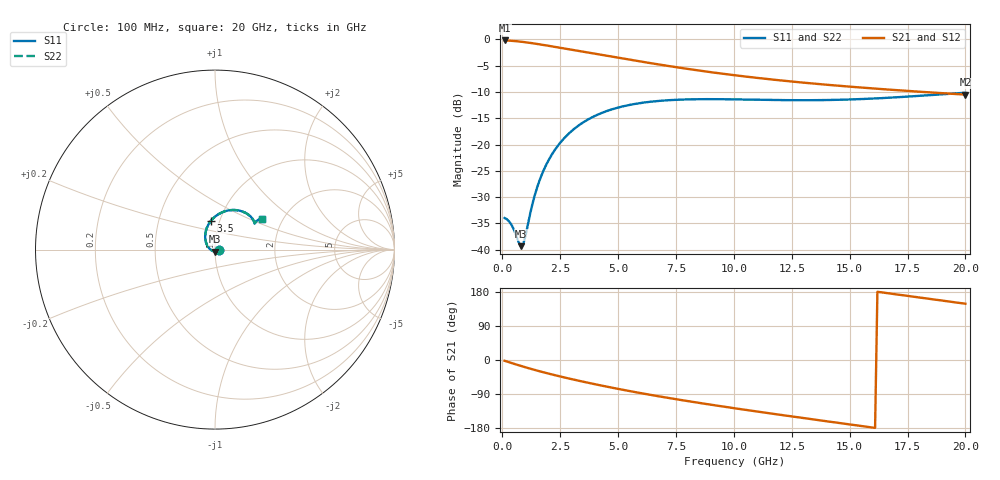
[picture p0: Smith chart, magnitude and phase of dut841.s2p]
! Touchstone file exported from HFSS 2024.1.0
!  File:  C:/UserFiles/LocalFiles/RDL_TSV_Batchsim/temp_RDL_TSV_841_1779920117.aedt
!  Generated:  06:30:54 AM May 28, 2026
!  Design:  RDL_TSV
!  Project:  temp_RDL_TSV_841_1779920117
!  Setup:  Setup1
!  Solution:  Sweep
! Variables:
!  dtsv = 12.44um
!  hbump = 3um
!  htsv = 93.57um
!  ldown = 372.26um
!  lrdl = 382.63um
!  p = 40
!  p1 = 50.84um
!  rhole = 10um
!  subl = 2647.3um
!  t = 450um
!  tdown = 3.35um
!  trdl = 2.41um
!  viad = 10um
!  wdown = 10.86um
!  wrdl = 24.67um
!  xbump = 18um
# GHz S MA R 50.000000
! Terminal data exported
! Port[1] = TM1_1_T1
! Port[2] = TM1_4_T1
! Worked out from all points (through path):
!   200 points, 100 MHz to 20 GHz, reference 50 ohm
!   highest |S21| = -0.18 dB at 100 MHz (marker M1); lowest = -10.5 dB at 20 GHz (marker M2)
!   group delay of S21, straight-line fit = 27.5 ps
!   lowest |S11| = -39.3 dB at 800 MHz (marker M3), VSWR 1.02, Z = 50 - j1.08 ohm
!   |S11| at or under -10 dB: start of sweep to end of sweep
!   |S22| runs from -39.3 to -10.1 dB; largest |S21 - S12| = 1.7e-14
!   S11 on the Smith chart (normalised r, x): 100 MHz: 1.04, -0.00; 3.5 GHz: 0.91, +0.30; 20 GHz: 1.56, +0.60
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0.1  0.02006 -5.7  0.9792 -2.0  0.9792 -2.0  0.02006 -5.7
! Gamma 0 0 0 0
! Port Impedance 50 0 50 0
0.4  0.01724 -26.5  0.9718 -8.0  0.9718 -8.0  0.01724 -26.5
0.8  0.01082 -90.5  0.9535 -15.6  0.9535 -15.6  0.01083 -90.3
0.9  0.01124 -118.1  0.9478 -17.4  0.9478 -17.4  0.01123 -117.8
1  0.01348 -142.8  0.9417 -19.3  0.9417 -19.3  0.01346 -142.6
1.3  0.02714 175.3  0.9218 -24.5  0.9218 -24.5  0.0271 175.4
1.5  0.03886 160.6  0.9076 -27.9  0.9076 -27.9  0.03881 160.6
1.9  0.06456 141.0  0.8783 -34.4  0.8783 -34.4  0.06449 141.0
2.2  0.08444 130.2  0.8562 -39.0  0.8562 -39.0  0.08434 130.2
2.6  0.1105 118.3  0.8272 -44.9  0.8272 -44.9  0.1104 118.3
3  0.1352 108.3  0.7989 -50.6  0.7989 -50.6  0.135 108.3
3.5  0.1632 97.6  0.7649 -57.4  0.7649 -57.4  0.163 97.6
4.2  0.1963 85.2  0.7196 -66.4  0.7196 -66.4  0.1961 85.1
4.9  0.2221 74.9  0.677 -75.0  0.677 -75.0  0.2218 74.8
5.8  0.2454 64.1  0.6267 -85.4  0.6267 -85.4  0.2451 64.1
6.8  0.2609 54.7  0.5768 -96.2  0.5768 -96.2  0.2607 54.7
8.4  0.2704 44.1  0.5102 -112.2  0.5102 -112.2  0.2701 44.1
10.1  0.2694 37.4  0.4552 -127.9  0.4552 -127.9  0.2692 37.4
11.7  0.2658 34.4  0.4151 -142.0  0.4151 -142.0  0.2657 34.3
13.4  0.2647 33.5  0.3816 -156.5  0.3816 -156.5  0.2645 33.4
16.7  0.2794 34.5  0.3337 175.8  0.3337 175.8  0.2791 34.3
20  0.3116 33.7  0.299 148.5  0.299 148.5  0.311 33.5
